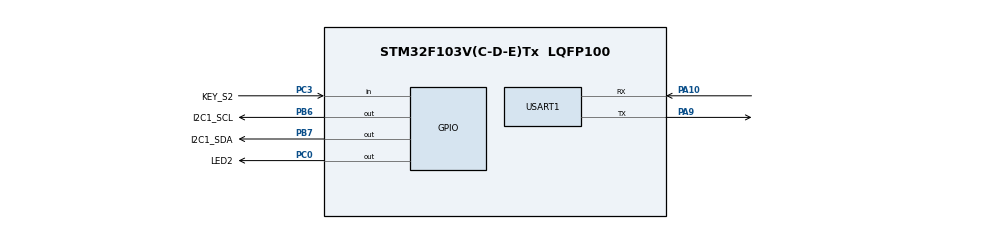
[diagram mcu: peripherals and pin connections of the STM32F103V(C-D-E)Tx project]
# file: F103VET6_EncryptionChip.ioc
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ADC1.Channel-1\#ChannelRegularConversion=ADC_CHANNEL_TEMPSENSOR
ADC1.ContinuousConvMode=DISABLE
ADC1.EnableInjectedConversion=DISABLE
ADC1.NbrOfConversion=1
ADC1.NbrOfConversionFlag=1
ADC1.Offset-1\#ChannelRegularConversion=0
ADC1.OffsetNumber-1\#ChannelRegularConversion=ADC_OFFSET_NONE
ADC1.Rank-1\#ChannelRegularConversion=1
ADC1.SamplingTime-1\#ChannelRegularConversion=ADC_SAMPLETIME_239CYCLES_5
ADC1.SubFamily=STM32F302x8
ADC1.master=1
Mcu.Family=STM32F1
Mcu.Name=STM32F103V(C-D-E)Tx
Mcu.Package=LQFP100
NVIC.PriorityGroup=NVIC_PRIORITYGROUP_4
PA10.Mode=Asynchronous
PA10.Signal=USART1_RX
PA13.Mode=Serial_Wire
PA13.Signal=SYS_JTMS-SWDIO
PA14.Mode=Serial_Wire
PA14.Signal=SYS_JTCK-SWCLK
PA9.Mode=Asynchronous
PA9.Signal=USART1_TX
PB6.GPIO_Label=I2C1_SCL
PB6.GPIO_ModeDefaultOutputPP=GPIO_MODE_OUTPUT_OD
PB6.GPIO_PuPd=GPIO_PULLUP
PB6.GPIO_Speed=GPIO_SPEED_FREQ_LOW
PB6.PinState=GPIO_PIN_SET
PB6.Signal=GPIO_Output
PB7.GPIO_Label=I2C1_SDA
PB7.GPIO_ModeDefaultOutputPP=GPIO_MODE_OUTPUT_OD
PB7.GPIO_PuPd=GPIO_PULLUP
PB7.GPIO_Speed=GPIO_SPEED_FREQ_LOW
PB7.PinState=GPIO_PIN_SET
PB7.Signal=GPIO_Output
PC0.GPIO_Label=LED2
PC0.GPIO_PuPd=GPIO_PULLUP
PC0.PinState=GPIO_PIN_SET
PC0.Signal=GPIO_Output
PC3.GPIO_Label=KEY_S2
PC3.GPIO_PuPd=GPIO_PULLUP
PC3.Signal=GPIO_Input
ProjectManager.HeapSize=0x400
ProjectManager.StackSize=0x400
ProjectManager.TargetToolchain=MDK-ARM V5
RCC.ADC12PRES=RCC_ADC1PLLCLK_DIV4
RCC.ADCPresc=RCC_ADCPCLK2_DIV8
RCC.AHBFreq_Value=64000000
RCC.APB1CLKDivider=RCC_HCLK_DIV2
RCC.APB1Freq_Value=32000000
RCC.APB1TimFreq_Value=64000000
RCC.APB2Freq_Value=64000000
RCC.APB2TimFreq_Value=64000000
RCC.CortexFreq_Value=56000000
RCC.HCLKFreq_Value=64000000
RCC.HSE_VALUE=8000000
RCC.HSI_VALUE=8000000
RCC.LSE_VALUE=32768
RCC.PLLMUL=RCC_PLL_MUL16
RCC.PREFETCH_ENABLE=1
RCC.SYSCLKFreq_VALUE=64000000
RCC.SYSCLKSource=RCC_SYSCLKSOURCE_PLLCLK
RCC.SYSCLKSourceVirtual=RCC_SYSCLKSOURCE_PLLCLK
RCC.USBFreq_Value=64000000
USART1.VirtualMode=VM_ASYNC
VP_ADC1_TempSens_Input.Mode=IN-TempSens
board=custom

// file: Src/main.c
/* USER CODE BEGIN Header */
//       ____
//      /___/\_
//     _\   \/_/\__
//   __\       \/_/\
//   \   __    __ \ \        MIT License. Copyright (c) 2019 SummerFalls.
//  __\  \_\   \_\ \ \   __
// /_/\\   __   __  \ \_/_/\
// \_\/_\__\/\__\/\__\/_\_\/
//    \_\/_/\       /_\_\/
//       \_\/       \_\/
/*
* @ 名称: main.c
* @ 作者: SummerFalls
* @ 日期: 2019-5-23
* @ 版本: V1.0
* @ 描述:
*/

/*******************************************************************************
* @brief  : 工程编译后 Flash 与 RAM 占用情况计算
* @FLASH  : Total ROM Size (Code + RO Data + RW Data)
* @RAM    : Total RW  Size (RW Data + ZI Data)
* @note   : 可通过 map 文件查看详细情况
*******************************************************************************/
/* USER CODE END Header */

#include "main.h"
#include "adc.h"
#include "usart.h"
#include "gpio.h"

/* USER CODE BEGIN Includes */
#include "GTek_Include.h"
/* USER CODE END Includes */

/* USER CODE BEGIN PV */
volatile uint32_t g_ticks_msec = 0;          // Tracks elapsed time in milliseconds
volatile uint32_t g_auth_interval_msec = 1;  // Interval until next authentication check in milliseconds
volatile static bool g_do_auth = false;      // Indicates the authentication sequence should be performed
volatile uint8_t I2C_BusIdx = 0;
/* USER CODE END PV */

void SystemClock_Config(void);
/* USER CODE BEGIN PFP */
static ATCA_STATUS cryptoauthlib_init(void);
/* USER CODE END PFP */

/* USER CODE BEGIN 0 */

// Function to get the master secret key .
void get_master_key(uint8_t *master_key)
{
    // The master secret key should be securely stored in application.
    uint8_t master_secret_key[] = {
        0x37, 0x80, 0xE6, 0x3D, 0x49, 0x68, 0xAD, 0xE5,
        0xD8, 0x22, 0xC0, 0x13, 0xFC, 0xC3, 0x23, 0x84,
        0x5D, 0x1B, 0x56, 0x9F, 0xE7, 0x05, 0xB6, 0x00,
        0x06, 0xFE, 0xEC, 0x14, 0x5A, 0x0D, 0xB1, 0xE3,
    };

    memcpy(master_key, master_secret_key, sizeof(master_secret_key));
}

// Systick callback handler called every 1ms, which sets the g_do_auth after
// the random interval (g_auth_interval_msec) for authentication to happen and
// also performs the led blinking operation
void SysTick_Handler_Callback(void)
{
    g_ticks_msec++;

    if (g_ticks_msec % g_auth_interval_msec == 0) {
        g_do_auth = true;
        g_ticks_msec = 0;
        g_auth_interval_msec = (rand() % AUTHENTICATION_RANGE_MSEC) + AUTHENTICATION_MIN_MSEC;
    }

    play_led_pattern();
}

// Initialize the CryptoAuthLib library with the particular interface and device
// TODO: 批量烧录方案思路分析
// 修改思路:
// 在 atcab_init() 函数执行之前，就得先完成GPIO PORT口的映射，
// 因为在该函数的最深层调用函数: hal_i2c_init() -> i2c_enable() 函数中就已经对相应的GPIO口进行操作
// 将 i2c_bitbang_stm32.h 中相关 PORT 宏定义常量改为变量，在 atcab_init() 之前对PORT变量进行映射到对应的 I2C 总线PORT口
// 步骤: (例如需要批量烧录 3 片加密芯片)
// 1. 设置当前需要进行通讯的 I2C 总线为第几条
// 2. 映射 port_sda 和 port_scl 到对应的 PORT 口
// 3. 调用 atcab_init(); 初始化加密芯片相关API和对象实例，并初始化 I2C 总线
// 4. atcab_release()函数，每烧录完一片加密芯片，需要释放对应实例，因为 atcab_init() 时申请了 "堆 Heap" 内存
static ATCA_STATUS cryptoauthlib_init(void)
{
    ATCA_STATUS status;

#if (CRYPTOAUTH_DEVICE == DEVICE_ATSHA204A)
    // 1. 设置当前需要进行通讯的 I2C 总线为第几条
    cfg_atsha204a_i2c_default.atcai2c.bus = I2C_BusIdx;

    // 2. atcab_init() 前，映射 SDA 和 SCL 的 PORT 口
    port_sda = i2c_buses_default.port_sda[cfg_atsha204a_i2c_default.atcai2c.bus]; // I2C1_SDA_GPIO_Port
    port_scl = i2c_buses_default.port_scl[cfg_atsha204a_i2c_default.atcai2c.bus]; // I2C1_SCL_GPIO_Port

    // 3. 初始化加密芯片相关API和对象实例，并初始化 I2C 总线
    status = atcab_init(&cfg_atsha204a_i2c_default);
#elif (CRYPTOAUTH_DEVICE == DEVICE_ATECC508A)
    status = atcab_init(&cfg_ateccx08a_i2c_default);
#elif (CRYPTOAUTH_DEVICE == DEVICE_ATECC608A)
    cfg_ateccx08a_i2c_default.atcai2c.slave_address = ECC608A_ADDRESS;
    cfg_ateccx08a_i2c_default.devtype = ATECC608A;
    status = atcab_init(&cfg_ateccx08a_i2c_default);
#endif

    return status;
}

// Function to be called by application at random interval to perform authentication
state authenticate_application(void)
{
    static state auth_status = NOT_AUTHENTICATED;
    uint8_t master_key[ATCA_KEY_SIZE];
    uint8_t host_nonce[NONCE_NUMIN_SIZE];

    if (!g_do_auth) {
        return auth_status;
    }

    get_master_key(master_key);
    host_generate_random_number(host_nonce);

    if (symmetric_authenticate(CRYPTOAUTH_DEVICE_AUTH_KEY_SLOT, master_key, host_nonce) == ATCA_SUCCESS) {
        auth_status = AUTHENTICATED;
        update_led_pattern(success_pattern);
    } else {
        auth_status = NOT_AUTHENTICATED;
        update_led_pattern(fail_pattern);
    }

    g_do_auth = false;

    return auth_status;
}

/* USER CODE END 0 */

int main(void)
{
  /* USER CODE BEGIN 1 */
    uint8_t sn[ATCA_SERIAL_NUM_SIZE];
  /* USER CODE END 1 */

  /* MCU Configuration--------------------------------------------------------*/

  /* Reset of all peripherals, Initializes the Flash interface and the Systick. */
  HAL_Init();

  /* Configure the system clock */
  SystemClock_Config();

  /* USER CODE BEGIN SysInit */
    LL_SYSTICK_EnableIT();
  /* USER CODE END SysInit */

  /* Initialize all configured peripherals */
  MX_GPIO_Init();
  MX_ADC1_Init();
  MX_USART1_UART_Init();
  /* USER CODE BEGIN 2 */
    printf("外设初始化完成...\r\n\r\n");

    //    __ASM volatile("BKPT #0");

    // Update the seed value for use with rand()
    random_seed_init();

    switch (CRYPTOAUTH_DEVICE) {
        case DEVICE_ATSHA204A:
            printf("--> 当前程序适用芯片: ATSHA204A\r\n\r\n");
            break;

        case DEVICE_ATECC508A:
            printf("--> 当前程序适用芯片: ATECC508A\r\n\r\n");
            break;

        case DEVICE_ATECC608A:
            printf("--> 当前程序适用芯片: ATECC608A\r\n\r\n");
            break;
    }

#ifdef USE_ATCAH_DERIVE_KEY
    printf("--> 当前程序是否使用 DERIVE_KEY: \tYES!\r\n\r\n");
#else
    printf("--> 当前程序是否使用 DERIVE_KEY: \tNO!\r\n\r\n");
#endif
  /* USER CODE END 2 */

  /* Infinite loop */
  /* USER CODE BEGIN WHILE */
    while (1) {
        printf("--> 按下按钮开始配置加密芯片...");

        while (LL_GPIO_IsInputPinSet(KEY_S2_GPIO_Port, KEY_S2_Pin) == 1);

        printf("OK\r\n");
        delay_ms(1000);

        for (I2C_BusIdx = 0; I2C_BusIdx < MAX_I2C_BUSES; I2C_BusIdx++) {
            printf("------------------- START -------------------\r\n\r\n");

            printf("********* 当前处理第 %02u 片加密芯片 *********\r\n", I2C_BusIdx);

            // 初始化 CryptoAuthlib 加密库，申请 "堆 Heap" 内存，用于存放相关对象实例
            cryptoauthlib_init();

            if (atcab_read_serial_number(sn) != ATCA_SUCCESS) {
                printf("--> 读取序列号失败，请核对芯片型号是否与程序相符合...\r\n\r\n");
            } else {
                printf("--> 当前芯片序列号: 0x%02X 0x%02X 0x%02X 0x%02X 0x%02X 0x%02X 0x%02X 0x%02X 0x%02X\r\n", sn[0], sn[1], sn[2], sn[3], sn[4], sn[5], sn[6], sn[7], sn[8]);
            }

            // Provision the device with the configuration and shared secret data
#if IP_PROTECTION_LOAD_CONFIG

            if (device_provision(CRYPTOAUTH_DEVICE_AUTH_KEY_SLOT) != ATCA_SUCCESS) {
                printf("--> 加密芯片配置失败...\r\n");
                printf("--> 检查设备然后复位重试...\r\n");
            }

#endif

            // Initialize the time for the authentication to perform
            g_auth_interval_msec = (rand() % AUTHENTICATION_RANGE_MSEC) + AUTHENTICATION_MIN_MSEC;

            // Forcing to do Authentication at the start
            g_do_auth = true;

            if (authenticate_application() == NOT_AUTHENTICATED) {
                printf("--> 加密芯片验证失败，1秒后重试...\r\n\r\n");
                delay_ms(1000);
            } else {

                switch (CRYPTOAUTH_DEVICE) {
                    case DEVICE_ATSHA204A:
                        printf("--> 加密芯片 ATSHA204A 验证成功...\r\n\r\n");
                        break;

                    case DEVICE_ATECC508A:
                        printf("--> 加密芯片 ATECC508A 验证成功...\r\n\r\n");
                        break;

                    case DEVICE_ATECC608A:
                        printf("--> 加密芯片 ATECC608A 验证成功...\r\n\r\n");
                        break;
                }
            }

            printf("------------------- END -------------------\r\n\r\n");

            // 每烧录完一片加密芯片，需要释放对应实例，因为 atcab_init() 时申请了 "堆 Heap" 内存
            atcab_release();
        }

    /* USER CODE END WHILE */

    }
}

void SystemClock_Config(void)
{
  LL_FLASH_SetLatency(LL_FLASH_LATENCY_2);

   if(LL_FLASH_GetLatency() != LL_FLASH_LATENCY_2)
  {
    Error_Handler();
  }
  LL_RCC_HSI_SetCalibTrimming(16);
  LL_RCC_HSI_Enable();

   /* Wait till HSI is ready */
  while(LL_RCC_HSI_IsReady() != 1)
  {

  }
  LL_RCC_PLL_ConfigDomain_SYS(LL_RCC_PLLSOURCE_HSI_DIV_2, LL_RCC_PLL_MUL_16);
  LL_RCC_PLL_Enable();

   /* Wait till PLL is ready */
  while(LL_RCC_PLL_IsReady() != 1)
  {

  }
  LL_RCC_SetAHBPrescaler(LL_RCC_SYSCLK_DIV_1);
  LL_RCC_SetAPB1Prescaler(LL_RCC_APB1_DIV_2);
  LL_RCC_SetAPB2Prescaler(LL_RCC_APB2_DIV_1);
  LL_RCC_SetSysClkSource(LL_RCC_SYS_CLKSOURCE_PLL);

   /* Wait till System clock is ready */
  while(LL_RCC_GetSysClkSource() != LL_RCC_SYS_CLKSOURCE_STATUS_PLL)
  {

  }
  LL_SetSystemCoreClock(64000000);
  LL_RCC_SetADCClockSource(LL_RCC_ADC_CLKSRC_PCLK2_DIV_8);
}

void Error_Handler(void)
{
}

/************************ (C) COPYRIGHT STMicroelectronics *****END OF FILE****/
